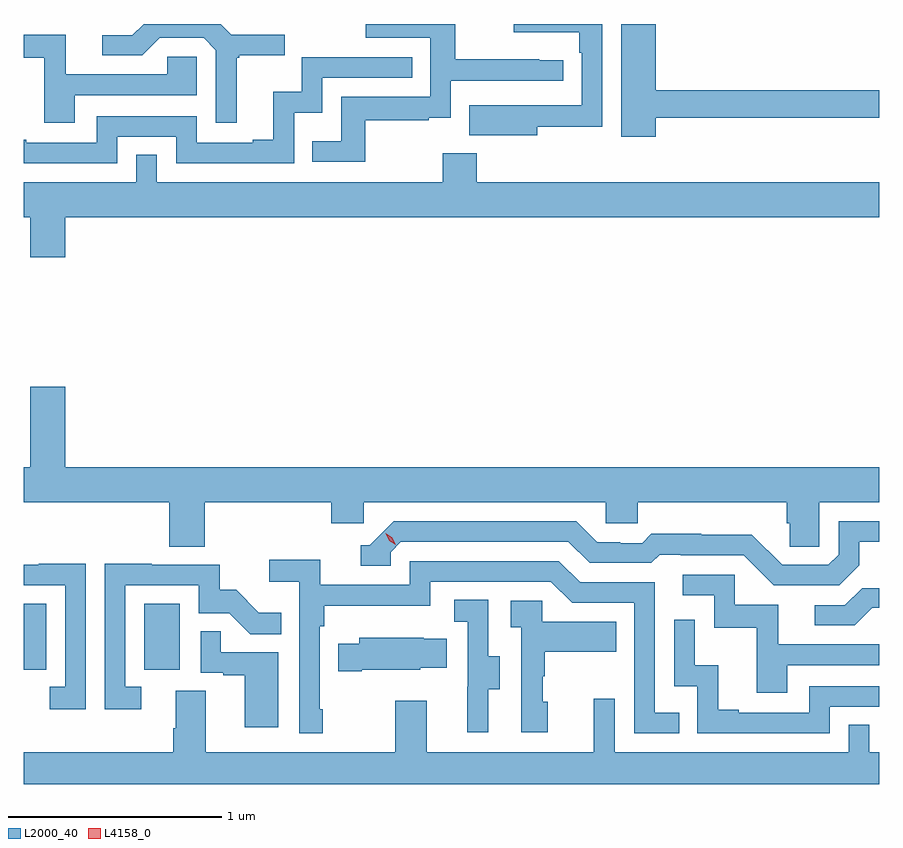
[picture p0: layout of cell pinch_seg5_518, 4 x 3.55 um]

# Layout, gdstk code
import gdstk
lib = gdstk.Library(unit=1e-6, precision=1e-09)
def R(c, l, rs):  # rectangles x0, y0, x1, y1
    for r in rs: c.add(gdstk.rectangle(r[:2], r[2:], *l))
def P(c, l, *ps):  # polygons
    for p in ps: c.add(gdstk.Polygon(p, *l))
L2000_40 = (2000, 40)
L4158_0 = (4158, 0)

pinch_seg5_518 = lib.new_cell('pinch_seg5_518')
R(pinch_seg5_518, L2000_40, [(932.209,833.334,932.314,833.641), (932.774,833.334,932.938,833.641)])
P(pinch_seg5_518, L2000_40, [(933.805,835.902),(934.103,835.902),(934.103,835.913),(934.206,835.913),(934.206,836.085),(934.732,836.085),(934.732,836.181),(934.619,836.181),(934.619,836.186),(934.226,836.186),(934.226,836.351),(933.809,836.351),(933.809,836.286),(934.11,836.286),(934.11,836.01),(933.694,836.01),(933.694,835.804),(933.559,835.804),(933.559,835.707),(933.805,835.707)],
  [(933.205,836.193),(933.217,836.193),(933.217,836.204),(933.43,836.204),(933.43,836.301),(933.18,836.301),(933.13,836.351),(932.771,836.351),(932.718,836.298),(932.577,836.298),(932.577,836.205),(932.764,836.205),(932.845,836.286),(933.051,836.286),(933.108,836.229),(933.108,835.89),(933.205,835.89)],
  [(935.164,835.914),(936.209,835.914),(936.209,836.042),(935.164,836.042),(935.164,836.351),(935.003,836.351),(935.003,835.824),(935.164,835.824)],
  [(934.609,835.87),(934.914,835.87),(934.914,836.351),(934.5,836.351),(934.5,836.312),(934.805,836.312),(934.805,836.216),(934.818,836.216),(934.818,835.971),(934.505,835.971),(934.505,835.972),(934.291,835.972),(934.291,835.832),(934.609,835.832)],
  [(932.449,836.019),(933.018,836.019),(933.018,836.199),(932.881,836.199),(932.881,836.115),(932.407,836.115),(932.407,836.301),(932.209,836.301),(932.209,836.193),(932.305,836.193),(932.305,835.89),(932.449,835.89)],
  [(932.646,835.824),(932.922,835.824),(932.922,835.701),(933.474,835.701),(933.474,835.937),(933.606,835.937),(933.606,836.1),(934.025,836.1),(934.025,836.196),(933.51,836.196),(933.51,836.035),(933.377,836.035),(933.377,835.81),(933.281,835.81),(933.281,835.797),(933.018,835.797),(933.018,835.92),(932.55,835.92),(932.55,835.797),(932.221,835.797),(932.221,835.81),(932.209,835.81),(932.209,835.701),(932.646,835.701)],
  [(932.404,835.448),(936.209,835.448),(936.209,835.612),(934.328,835.612),(934.328,835.747),(934.168,835.747),(934.168,835.612),(932.832,835.612),(932.832,835.739),(932.736,835.739),(932.736,835.612),(932.209,835.612),(932.209,835.448),(932.24,835.448),(932.24,835.26),(932.404,835.26)],
  [(933.056,834.116),(933.647,834.116),(933.647,834.018),(933.798,834.018),(933.798,834.116),(934.929,834.116),(934.929,834.018),(935.079,834.018),(935.079,834.116),(935.777,834.116),(935.777,834.018),(935.791,834.018),(935.791,833.908),(935.928,833.908),(935.928,834.116),(936.209,834.116),(936.209,834.28),(932.404,834.28),(932.404,834.655),(932.24,834.655),(932.24,834.28),(932.209,834.28),(932.209,834.116),(932.891,834.116),(932.891,833.908),(933.056,833.908)],
  [(936.115,833.821),(936.115,833.931),(936.209,833.931),(936.209,834.027),(936.018,834.027),(936.018,833.871),(935.97,833.823),(935.754,833.823),(935.612,833.965),(935.376,833.965),(935.376,833.968),(935.143,833.968),(935.101,833.925),(934.998,833.925),(934.998,833.928),(934.891,833.928),(934.792,834.027),(933.939,834.027),(933.828,833.916),(933.785,833.916),(933.785,833.82),(933.924,833.82),(933.924,833.883),(933.972,833.931),(934.755,833.931),(934.854,833.832),(935.143,833.832),(935.182,833.871),(935.281,833.871),(935.281,833.868),(935.574,833.868),(935.715,833.727),(936.021,833.727)],
  [(933.607,833.149),(933.594,833.149),(933.594,833.537),(933.614,833.537),(933.614,833.633),(934.11,833.633),(934.11,833.745),(934.674,833.745),(934.773,833.646),(935.064,833.646),(935.064,833.037),(935.273,833.037),(935.273,833.133),(935.16,833.133),(935.16,833.742),(934.81,833.742),(934.711,833.841),(934.014,833.841),(934.014,833.73),(933.596,833.73),(933.596,833.846),(933.357,833.846),(933.357,833.744),(933.498,833.744),(933.498,833.037),(933.607,833.037)],
  [(932.758,833.253),(932.685,833.253),(932.685,833.727),(933.027,833.727),(933.027,833.598),(933.171,833.598),(933.269,833.5),(933.413,833.5),(933.413,833.599),(933.309,833.599),(933.202,833.706),(933.126,833.706),(933.126,833.823),(932.807,833.823),(932.807,833.828),(932.589,833.828),(932.589,833.148),(932.758,833.148)],
  [(932.499,833.828),(932.281,833.828),(932.281,833.823),(932.209,833.823),(932.209,833.727),(932.403,833.727),(932.403,833.253),(932.331,833.253),(932.331,833.148),(932.499,833.148)],
  [(935.779,833.355),(936.209,833.355),(936.209,833.451),(935.737,833.451),(935.737,833.637),(935.532,833.637),(935.532,833.778),(935.289,833.778),(935.289,833.682),(935.436,833.682),(935.436,833.529),(935.635,833.529),(935.635,833.226),(935.779,833.226)],
  [(936.175,833.622),(936.209,833.622),(936.209,833.714),(936.128,833.714),(936.048,833.634),(935.907,833.634),(935.907,833.541),(936.094,833.541)],
  [(934.381,833.242),(934.435,833.242),(934.435,833.397),(934.38,833.397),(934.38,833.66),(934.221,833.66),(934.221,833.557),(934.284,833.557),(934.284,833.253),(934.283,833.253),(934.283,833.04),(934.381,833.04)],
  [(934.66,833.184),(934.635,833.184),(934.635,833.303),(934.645,833.303),(934.645,833.417),(934.979,833.417),(934.979,833.557),(934.632,833.557),(934.632,833.655),(934.485,833.655),(934.485,833.531),(934.536,833.531),(934.536,833.04),(934.66,833.04)],
  [(935.976,833.16),(936.209,833.16),(936.209,833.256),(935.88,833.256),(935.88,833.133),(935.551,833.133),(935.551,833.146),(935.456,833.146),(935.456,833.354),(935.346,833.354),(935.346,833.566),(935.25,833.566),(935.25,833.256),(935.358,833.256),(935.358,833.037),(935.976,833.037)],
  [(933.4,833.415),(933.131,833.415),(933.131,833.513),(933.036,833.513),(933.036,833.319),(933.143,833.319),(933.143,833.307),(933.242,833.307),(933.242,833.064),(933.4,833.064)],
  [(933.79,833.333),(934.062,833.333),(934.062,833.342),(934.187,833.342),(934.187,833.479),(934.079,833.479),(934.079,833.482),(933.777,833.482),(933.777,833.455),(933.679,833.455),(933.679,833.326),(933.79,833.326)],
  [(936.209,832.948),(936.162,832.948),(936.162,833.075),(936.066,833.075),(936.066,832.948),(934.971,832.948),(934.971,833.197),(934.874,833.197),(934.874,832.948),(934.093,832.948),(934.093,833.188),(933.946,833.188),(933.946,832.948),(933.061,832.948),(933.061,833.234),(932.921,833.234),(932.921,833.06),(932.909,833.06),(932.909,832.948),(932.209,832.948),(932.209,832.799),(936.209,832.799)])
P(pinch_seg5_518, L4158_0, [(933.949,833.918),(933.918,833.937),(933.901,833.969),(933.901,833.97),(933.902,833.97),(933.932,833.95),(933.949,833.918),(933.949,833.918)])

lib.write_gds('pinch_seg5_518.gds')
